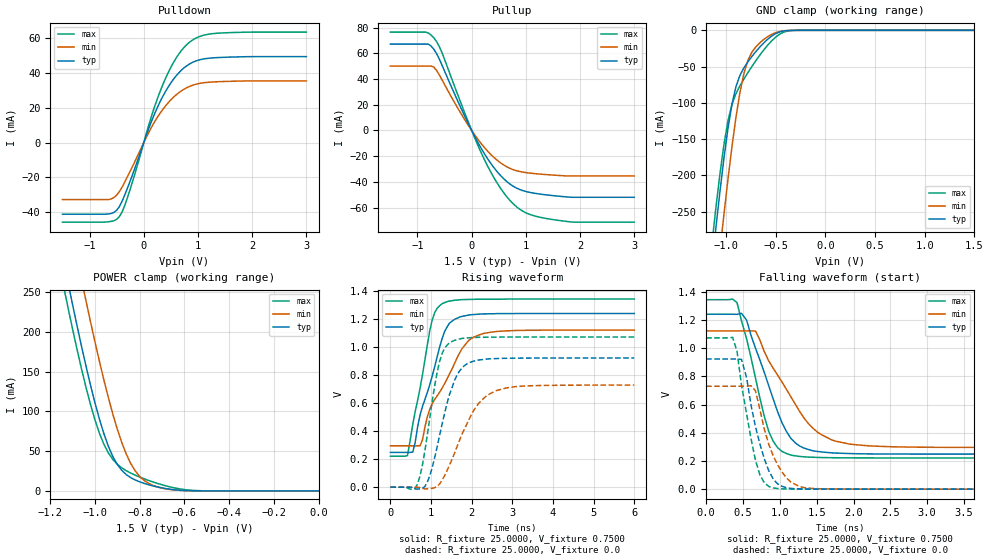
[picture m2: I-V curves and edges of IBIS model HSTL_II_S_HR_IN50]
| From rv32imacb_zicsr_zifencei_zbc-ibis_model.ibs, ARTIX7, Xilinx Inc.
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[Model]  HSTL_II_S_HR_IN50
Model_type I/O
Polarity   Non-Inverting
Enable   Active-Low
Vinl = 0.65
Vinh = 0.85
Vmeas =  0.7500V
Cref =   0.0F
Rref =   25.0000
Vref =   0.7500V
C_comp   7.6900pF   7.5100pF   7.7200pF
[Model Spec]
Vinl   0.65   0.6125   0.6875
Vinh   0.85   0.8125   0.8875
[Temperature Range]   25.0000   85.0000   0.0
[Voltage Range]   1.5000V   1.4250V   1.5750V
[Add Submodel]
| Submodel Name   Mode
IN50_1V5   Non-Driving
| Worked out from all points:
|   slope of the pulldown table from 0 to 0.225 V, typ, clamps not added: 12.2 ohm
|   slope of the pullup table from 0 to 0.225 V, typ, clamps not added: 13 ohm
|   GND clamp passes 1 mA (typ) near -0.42 V on its own axis
|   POWER clamp passes 1 mA (typ) near -0.63 V on its own axis
|   rising waveform, R_fixture 25.0000, V_fixture 0.7500: 20-80 % time 573ps typ, 824ps min, 422ps max; typ from 0.248 V to 1.24 V
|   rising waveform, R_fixture 25.0000, V_fixture 0.0: 20-80 % time 482ps typ, 700ps min, 357ps max; typ from 0 V to 0.923 V
|   falling waveform, R_fixture 25.0000, V_fixture 0.7500: 20-80 % time 411ps typ, 589ps min, 309ps max; typ from 1.24 V to 0.249 V
|   falling waveform, R_fixture 25.0000, V_fixture 0.0: 20-80 % time 246ps typ, 280ps min, 216ps max; typ from 0.924 V to 0 V
[Pulldown]
|Voltage   I(typ)   I(min)   I(max)
-1.5V     -41.22mA   -32.79mA   -45.81mA
-650mV    -41.08mA   -32.79mA   -45.56mA
-550mV    -40.17mA   -31.58mA   -44.95mA
-450mV    -36.82mA   -28.22mA   -42.6mA
-300mV    -26.1mA    -19.6mA    -31.58mA
150mV     12.85mA    9.264mA    15.97mA
350mV     26.52mA    19.05mA    33.25mA
600mV     38.52mA    27.55mA    48.81mA
850mV     45.36mA    32.41mA    57.93mA
1.05V     47.81mA    34.2mA     61.28mA
1.3V      48.83mA    34.95mA    62.81mA
3V        49.49mA    35.5mA     63.62mA
[Pullup]
|Voltage   I(typ)   I(min)   I(max)
-1.5V     67.17mA    50.08mA    76.5mA
-800mV    67.17mA    50.08mA    75.81mA
-700mV    63.24mA    49.29mA    72.11mA
-650mV    59.93mA    46.8mA     69.25mA
-550mV    51.07mA    39.6mA     60.68mA
-150mV    13.12mA    9.882mA    16.03mA
200mV     -15.62mA   -11.48mA   -19.53mA
550mV     -35.81mA   -25.67mA   -46.02mA
850mV     -45.24mA   -31.53mA   -60.08mA
1.15V     -48.74mA   -33.48mA   -66.31mA
1.7V      -51.46mA   -35.2mA    -70.44mA
3V        -51.94mA   -35.36mA   -71.3mA
[GND_clamp]
|Voltage   I(typ)   I(min)   I(max)
-1.5V     -843mA     -931.9mA   -809.3mA
-1.14V    -322.4mA   -408.3mA   -292.6mA
-1.1V     -270.7mA   -354.9mA   -243mA
-1.06V    -221.4mA   -303.2mA   -197.2mA
-1.02V    -175.8mA   -253.2mA   -157.1mA
-940mV    -102mA     -160.6mA   -102.2mA
-900mV    -77.8mA    -120.3mA   -87.39mA
-820mV    -51.79mA   -59.71mA   -67.23mA
-740mV    -36.2mA    -30.4mA    -50.04mA
-580mV    -12.24mA   -8.697mA   -20.45mA
-340mV    -90.8uA    -98.11uA   -316.7uA
1.5V      811.3pA    94.74nA    7.031nA
[POWER_clamp]
|Voltage   I(typ)   I(min)   I(max)
-1.5V     827.8mA    915mA      794.3mA
-1.14V    289.1mA    376.9mA    257mA
-1.12V    261.4mA    348.5mA    229.8mA
-1.1V     234.2mA    320.5mA    203.4mA
-1.04V    156.9mA    239mA      130.2mA
-980mV    90.26mA    163mA      72.57mA
-940mV    56.11mA    117.3mA    47.74mA
-900mV    33.23mA    77.6mA     33.5mA
-840mV    16.69mA    34.5mA     22.47mA
-780mV    9.474mA    13.13mA    15.27mA
-680mV    2.78mA     2.426mA    6.171mA
0V        0A         0A         0A
[Ramp]
| variable   typ   min   max
dV/dt_r  0.5540/0.4689n   0.4378/0.6886n   0.6438/0.3539n
dV/dt_f  0.5591/0.4314n   0.4436/0.5938n   0.6472/0.3375n
R_load = 25.0000
[Rising Waveform]
R_fixture= 25.0000
V_fixture= 0.7500
V_fixture_min= 0.7125
V_fixture_max= 0.7875
|time   V(typ)   V(min)   V(max)
0s        248.5mV    295.7mV    221.4mV
420ps     248.5mV    295.7mV    225.9mV
550ps     250.5mV    295.7mV    448mV
730ps     516.3mV    296.5mV    708.3mV
1.03ns    794.9mV    596.9mV    1.196V
1.27ns    1.059V     706.3mV    1.31V
1.45ns    1.171V     808.1mV    1.329V
1.76ns    1.22V      988.3mV    1.34V
2.3ns     1.238V     1.099V     1.343V
6ns       1.241V     1.122V     1.344V
[Rising Waveform]
R_fixture= 25.0000
V_fixture= 0.0
|time   V(typ)   V(min)   V(max)
0s        0V         0V         0V
670ps     -13.47mV   454.4uV    23.54mV
910ps     37.18mV    -11.13mV   376.3mV
1.15ns    288.7mV    5.96mV     821.5mV
1.27ns    449mV      49.05mV    952.9mV
1.45ns    658.7mV    156.6mV    1.031V
1.82ns    868.1mV    414.8mV    1.065V
2.18ns    908.9mV    601mV      1.071V
2.61ns    919mV      690.2mV    1.072V
6ns       923.3mV    729.6mV    1.073V
[Falling Waveform]
R_fixture= 25.0000
V_fixture= 0.7500
V_fixture_min= 0.7125
V_fixture_max= 0.7875
|time   V(typ)   V(min)   V(max)
0s        1.241V     1.123V     1.344V
420ps     1.24V      1.123V     1.323V
550ps     1.198V     1.123V     1.065V
670ps     1V         1.121V     788mV
850ps     733.3mV    910mV      409.2mV
970ps     549.5mV    809.4mV    294.5mV
1.15ns    360.7mV    655.2mV    241.7mV
1.52ns    266.9mV    401.2mV    225.2mV
1.94ns    252.8mV    320.5mV    222mV
6ns       248.6mV    295.8mV    221.4mV
[Falling Waveform]
R_fixture= 25.0000
V_fixture= 0.0
|time   V(typ)   V(min)   V(max)
0s        923.5mV    730.2mV    1.073V
360ps     923.6mV    730.2mV    1.077V
420ps     923.4mV    730.2mV    976.3mV
480ps     920.4mV    730.2mV    737.6mV
550ps     789.7mV    730mV      533.7mV
670ps     442.7mV    697.7mV    204.9mV
850ps     131.1mV    318.3mV    19.28mV
1.09ns    9.853mV    79.89mV    1.494mV
1.39ns    1.15mV     7.228mV    478.5uV
6ns       28.41uV    48.64uV    26.8uV
